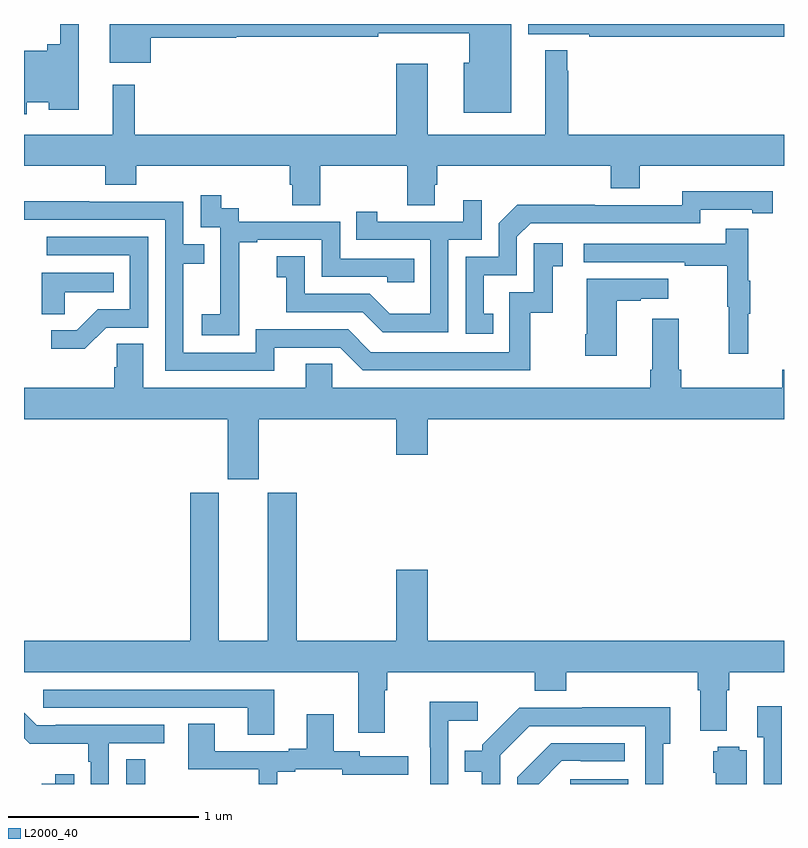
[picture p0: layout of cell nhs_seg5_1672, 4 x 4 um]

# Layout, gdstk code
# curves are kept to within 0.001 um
import gdstk
lib = gdstk.Library(unit=1e-6, precision=1e-09)
def R(c, l, rs):  # rectangles x0, y0, x1, y1
    for r in rs: c.add(gdstk.rectangle(r[:2], r[2:], *l))
def P(c, l, *ps):  # polygons
    for p in ps: c.add(gdstk.Polygon(p, *l))
L2000_40 = (2000, 40)

nhs_seg5_1672 = lib.new_cell('nhs_seg5_1672')
R(nhs_seg5_1672, L2000_40, [(211.539,894.799,211.638,894.929), (213.876,894.799,214.18,894.825)])
P(nhs_seg5_1672, L2000_40, [(213.565,898.799),(211.451,898.799),(211.451,898.595),(211.666,898.595),(211.666,898.727),(212.118,898.727),(212.118,898.732),(212.864,898.732),(212.864,898.751),(213.344,898.751),(213.344,898.594),(213.314,898.594),(213.314,898.331),(213.565,898.331)],
  [(215,898.799),(213.653,898.799),(213.653,898.745),(213.976,898.745),(213.976,898.732),(215,898.732)],
  [(211.014,898.388),(211.13,898.388),(211.13,898.349),(211.288,898.349),(211.288,898.799),(211.191,898.799),(211.191,898.693),(211.123,898.693),(211.123,898.657),(211,898.657),(211,898.323),(211.014,898.323)],
  [(212.559,898.052),(213.016,898.052),(213.016,897.844),(213.163,897.844),(213.163,897.954),(213.176,897.954),(213.176,898.052),(214.088,898.052),(214.088,897.935),(214.24,897.935),(214.24,898.052),(215,898.052),(215,898.216),(213.865,898.216),(213.865,898.553),(213.858,898.553),(213.858,898.66),(213.743,898.66),(213.743,898.216),(213.124,898.216),(213.124,898.591),(212.96,898.591),(212.96,898.216),(211.583,898.216),(211.583,898.48),(211.466,898.48),(211.466,898.216),(211,898.216),(211,898.052),(211.427,898.052),(211.427,897.953),(211.592,897.953),(211.592,898.052),(212.399,898.052),(212.399,897.954),(212.411,897.954),(212.411,897.844),(212.559,897.844)],
  [(213.47,897.273),(213.421,897.273),(213.421,897.477),(213.594,897.477),(213.594,897.678),(213.666,897.75),(214.56,897.75),(214.56,897.822),(214.832,897.822),(214.832,897.802),(214.94,897.802),(214.94,897.918),(214.464,897.919),(214.464,897.846),(214.004,897.846),(214.004,897.848),(213.596,897.848),(213.498,897.75),(213.498,897.573),(213.324,897.573),(213.324,897.168),(213.47,897.168)],
  [(212.133,897.367),(212.132,897.367),(212.132,897.651),(212.227,897.651),(212.227,897.663),(212.568,897.663),(212.568,897.468),(212.913,897.468),(212.913,897.441),(213.053,897.441),(213.053,897.564),(212.664,897.564),(212.664,897.759),(212.13,897.759),(212.13,897.828),(212.038,897.828),(212.038,897.898),(211.929,897.898),(211.929,897.729),(212.034,897.729),(212.034,897.5),(212.033,897.5),(212.033,897.271),(211.935,897.271),(211.935,897.161),(212.133,897.161)],
  [(213.234,897.663),(213.408,897.663),(213.408,897.871),(213.311,897.871),(213.311,897.759),(212.86,897.759),(212.86,897.811),(212.749,897.811),(212.749,897.663),(213.138,897.663),(213.138,897.274),(212.924,897.274),(212.82,897.378),(212.478,897.378),(212.478,897.577),(212.331,897.577),(212.331,897.467),(212.38,897.467),(212.38,897.282),(212.783,897.282),(212.888,897.177),(213.234,897.177)],
  [(212.317,897.096),(212.664,897.096),(212.784,896.976),(213.664,896.976),(213.664,897.279),(213.782,897.279),(213.782,897.525),(213.835,897.525),(213.835,897.646),(213.684,897.646),(213.684,897.387),(213.555,897.387),(213.555,897.072),(212.826,897.072),(212.706,897.192),(212.22,897.192),(212.22,897.069),(211.839,897.069),(211.839,897.538),(211.949,897.538),(211.949,897.639),(211.839,897.639),(211.839,897.864),(211.343,897.864),(211.343,897.866),(211,897.866),(211,897.768),(211.743,897.768),(211.743,896.973),(212.317,896.973)],
  [(214.811,897.275),(214.822,897.275),(214.822,897.449),(214.811,897.449),(214.811,897.721),(214.693,897.721),(214.693,897.642),(213.945,897.642),(213.945,897.546),(214.477,897.546),(214.477,897.526),(214.701,897.526),(214.701,897.312),(214.708,897.312),(214.708,897.063),(214.811,897.063)],
  [(211.434,897.201),(211.653,897.201),(211.653,897.678),(211.119,897.678),(211.119,897.582),(211.557,897.582),(211.557,897.297),(211.388,897.297),(211.277,897.186),(211.143,897.186),(211.143,897.089),(211.321,897.089)],
  [(211.215,897.386),(211.472,897.386),(211.472,897.49),(211.094,897.49),(211.094,897.271),(211.215,897.271)],
  [(214.12,897.343),(214.247,897.343),(214.247,897.353),(214.39,897.353),(214.39,897.457),(213.962,897.457),(213.962,897.166),(213.955,897.166),(213.955,897.054),(214.12,897.054)],
  [(212.236,896.72),(212.96,896.72),(212.96,896.532),(213.124,896.532),(213.124,896.72),(215,896.72),(215,896.98),(214.991,896.98),(214.991,896.884),(214.46,896.884),(214.46,896.98),(214.447,896.98),(214.447,897.247),(214.307,897.247),(214.307,896.98),(214.295,896.98),(214.295,896.884),(212.622,896.884),(212.622,897.011),(212.483,897.011),(212.483,896.884),(211.627,896.884),(211.627,897.116),(211.488,897.116),(211.488,896.993),(211.475,896.993),(211.475,896.884),(211,896.884),(211,896.72),(212.072,896.72),(212.072,896.403),(212.236,896.403)],
  [(212.899,895.292),(212.912,895.292),(212.912,895.388),(213.689,895.388),(213.689,895.289),(213.854,895.289),(213.854,895.388),(214.547,895.388),(214.547,895.292),(214.559,895.292),(214.559,895.079),(214.699,895.079),(214.699,895.292),(214.712,895.292),(214.712,895.388),(215,895.388),(215,895.552),(213.124,895.552),(213.124,895.927),(212.96,895.927),(212.96,895.552),(212.435,895.552),(212.435,896.331),(212.282,896.331),(212.282,895.552),(212.026,895.552),(212.026,896.331),(211.874,896.331),(211.874,895.552),(211,895.552),(211,895.388),(212.759,895.388),(212.759,895.068),(212.899,895.068)],
  [(212.317,895.296),(211.101,895.296),(211.101,895.2),(212.177,895.2),(212.177,895.057),(212.317,895.057)],
  [(213.234,895.133),(213.388,895.133),(213.388,895.231),(213.136,895.231),(213.136,894.992),(213.138,894.992),(213.138,894.799),(213.234,894.799)],
  [(214.989,895.207),(214.859,895.207),(214.859,895.046),(214.893,895.046),(214.893,894.799),(214.989,894.799)],
  [(213.507,894.951),(213.66,895.104),(214.269,895.104),(214.269,894.799),(214.365,894.799),(214.365,895.01),(214.402,895.01),(214.402,895.202),(213.937,895.202),(213.937,895.2),(213.606,895.2),(213.411,895.005),(213.411,894.973),(213.319,894.973),(213.319,894.864),(213.41,894.864),(213.41,894.799),(213.507,894.799)],
  [(211.446,895.014),(211.738,895.014),(211.738,895.11),(211.168,895.11),(211.168,895.107),(211.068,895.107),(211,895.175),(211,895.04),(211.03,895.01),(211.338,895.01),(211.338,894.917),(211.35,894.917),(211.35,894.799),(211.446,894.799)],
  [(212.332,894.864),(212.428,894.864),(212.428,894.876),(212.676,894.876),(212.676,894.849),(213.022,894.849),(213.022,894.945),(212.766,894.945),(212.766,894.972),(212.629,894.972),(212.629,895.165),(212.489,895.165),(212.489,894.985),(212.393,894.985),(212.393,894.972),(212.005,894.972),(212.005,895.115),(211.865,895.115),(211.865,894.876),(212.235,894.876),(212.235,894.799),(212.332,894.799)],
  [(213.831,894.921),(213.931,894.921),(213.931,894.918),(214.162,894.918),(214.162,895.014),(213.776,895.014),(213.597,894.835),(213.597,894.799),(213.709,894.799)],
  [(214.804,894.976),(214.764,894.976),(214.764,894.994),(214.65,894.994),(214.65,894.972),(214.628,894.972),(214.628,894.858),(214.64,894.858),(214.64,894.799),(214.804,894.799)],
  [(211.265,894.85),(211.164,894.85),(211.164,894.8),(211.094,894.8),(211.093,894.799),(211.265,894.799)])

lib.write_gds('nhs_seg5_1672.gds')
